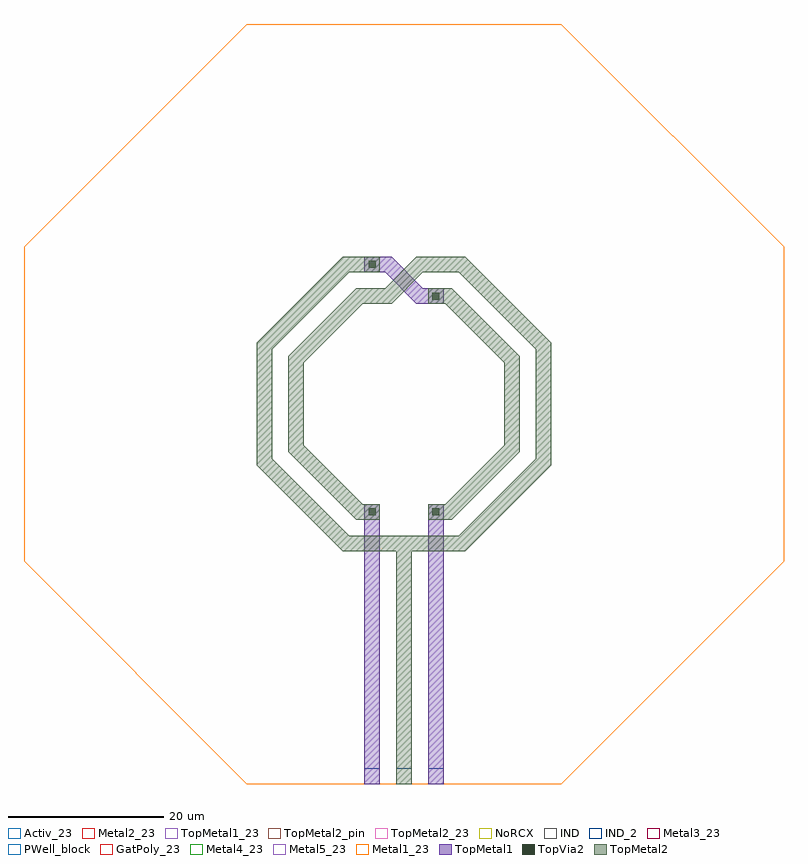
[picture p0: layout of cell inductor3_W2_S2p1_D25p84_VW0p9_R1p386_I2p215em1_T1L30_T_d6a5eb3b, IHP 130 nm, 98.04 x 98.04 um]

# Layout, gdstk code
import gdstk
lib = gdstk.Library(unit=1e-6, precision=1e-09)
def R(c, l, rs):  # rectangles x0, y0, x1, y1
    for r in rs: c.add(gdstk.rectangle(r[:2], r[2:], *l))
def P(c, l, *ps):  # polygons
    for p in ps: c.add(gdstk.Polygon(p, *l))
Activ_23 = (1, 23)
GatPoly_23 = (5, 23)
Metal1_23 = (8, 23)
Metal2_23 = (10, 23)
IND = (27, 0)
IND_2 = (27, 2)
Metal3_23 = (30, 23)
PWell_block = (46, 21)
Metal4_23 = (50, 23)
Metal5_23 = (67, 23)
TopMetal1 = (126, 0)
TopMetal1_23 = (126, 23)
TopVia2 = (133, 0)
TopMetal2 = (134, 0)
TopMetal2_pin = (134, 2)
TopMetal2_23 = (134, 23)
NoRCX = (148, 0)

rectangle_gdsfactorypcom = lib.new_cell('rectangle_gdsfactorypcomponentspshapesprectangle_S2_30__9b4a582f')
R(rectangle_gdsfactorypcom, TopMetal2, [(0,0,2,30)])

c_rectangle_gdsfactorypcom = lib.new_cell('rectangle_gdsfactorypcomponentspshapesprectangle_S2_2_L_ef4d5838')
R(c_rectangle_gdsfactorypcom, TopMetal2_pin, [(0,0,2,2)])

c_rectangle_gdsfactorypcom_ = lib.new_cell('rectangle_gdsfactorypcomponentspshapesprectangle_S2_2_L_b543f7ed')
R(c_rectangle_gdsfactorypcom_, IND_2, [(0,0,2,2)])

c_rectangle_gdsfactorypcom__ = lib.new_cell('rectangle_gdsfactorypcomponentspshapesprectangle_S2_36p_6f803a44')
R(c_rectangle_gdsfactorypcom__, TopMetal1, [(0,0,2,36.1)])

unnamed_161 = lib.new_cell('Unnamed_161')
P(unnamed_161, TopMetal2, [(-6.18,34.1),(-14.92,42.84),(-14.92,55.2),(-6.18,63.94),(-3.1,63.94),(-3.1,61.94),(-5.352,61.94),(-12.92,54.372),(-12.92,43.668),(-5.352,36.1),(-3.1,36.1),(-3.1,34.1)])

unnamed_162 = lib.new_cell('Unnamed_162')
P(unnamed_162, TopMetal2, [(3.1,34.1),(3.1,36.1),(5.352,36.1),(12.92,43.668),(12.92,54.372),(5.352,61.94),(3.1,61.94),(3.1,63.94),(6.18,63.94),(14.92,55.2),(14.92,42.84),(6.18,34.1)])

unnamed_163 = lib.new_cell('Unnamed_163')
P(unnamed_163, TopMetal2, [(-7.878,30),(-19.02,41.142),(-19.02,56.898),(-7.878,68.04),(-3.1,68.04),(-3.1,66.04),(-7.05,66.04),(-17.02,56.07),(-17.02,41.97),(-7.05,32),(-3.1,32),(-3.1,30)])

unnamed_164 = lib.new_cell('Unnamed_164')
P(unnamed_164, TopMetal2, [(3.1,30),(3.1,32),(7.05,32),(17.02,41.97),(17.02,56.07),(7.05,66.04),(3.1,66.04),(3.1,68.04),(7.878,68.04),(19.02,56.898),(19.02,41.142),(7.878,30)])

unnamed_165 = lib.new_cell('Unnamed_165')
R(unnamed_165, TopMetal2, [(-3.1,30,3.1,32)])

unnamed_166 = lib.new_cell('Unnamed_166')
P(unnamed_166, TopMetal2, [(-3.1,61.94),(-3.1,63.94),(-2.421,63.94),(1.579,68.04),(3.1,68.04),(3.1,66.04),(2.421,66.04),(-1.579,61.94)])

unnamed_167 = lib.new_cell('Unnamed_167')
P(unnamed_167, TopMetal1, [(1.579,61.94),(-2.421,66.04),(-5.1,66.04),(-5.1,68.04),(-1.579,68.04),(2.421,63.94),(5.1,63.94),(5.1,61.94)])

c_rectangle_gdsfactorypcom___ = lib.new_cell('rectangle_gdsfactorypcomponentspshapesprectangle_S0p9_0_c2a1d6bb')
R(c_rectangle_gdsfactorypcom___, TopVia2, [(0,0,0.9,0.9)])

inductor3_w2_s2p1_d25p84 = lib.new_cell('inductor3_W2_S2p1_D25p84_VW0p9_R1p386_I2p215em1_T1L30_T_d6a5eb3b')
P(inductor3_w2_s2p1_d25p84, Activ_23, [(-20.305,0),(-49.02,28.715),(-49.02,69.325),(-20.305,98.04),(20.305,98.04),(49.02,69.325),(49.02,28.715),(20.305,0)])
P(inductor3_w2_s2p1_d25p84, GatPoly_23, [(-20.305,0),(-49.02,28.715),(-49.02,69.325),(-20.305,98.04),(20.305,98.04),(49.02,69.325),(49.02,28.715),(20.305,0)])
P(inductor3_w2_s2p1_d25p84, Metal1_23, [(-20.305,0),(-49.02,28.715),(-49.02,69.325),(-20.305,98.04),(20.305,98.04),(49.02,69.325),(49.02,28.715),(20.305,0)])
P(inductor3_w2_s2p1_d25p84, Metal2_23, [(-20.305,0),(-49.02,28.715),(-49.02,69.325),(-20.305,98.04),(20.305,98.04),(49.02,69.325),(49.02,28.715),(20.305,0)])
P(inductor3_w2_s2p1_d25p84, IND, [(-20.305,0),(-49.02,28.715),(-49.02,69.325),(-20.305,98.04),(20.305,98.04),(49.02,69.325),(49.02,28.715),(20.305,0)])
P(inductor3_w2_s2p1_d25p84, Metal3_23, [(-20.305,0),(-49.02,28.715),(-49.02,69.325),(-20.305,98.04),(20.305,98.04),(49.02,69.325),(49.02,28.715),(20.305,0)])
P(inductor3_w2_s2p1_d25p84, PWell_block, [(-20.305,0),(-49.02,28.715),(-49.02,69.325),(-20.305,98.04),(20.305,98.04),(49.02,69.325),(49.02,28.715),(20.305,0)])
P(inductor3_w2_s2p1_d25p84, Metal4_23, [(-20.305,0),(-49.02,28.715),(-49.02,69.325),(-20.305,98.04),(20.305,98.04),(49.02,69.325),(49.02,28.715),(20.305,0)])
P(inductor3_w2_s2p1_d25p84, Metal5_23, [(-20.305,0),(-49.02,28.715),(-49.02,69.325),(-20.305,98.04),(20.305,98.04),(49.02,69.325),(49.02,28.715),(20.305,0)])
P(inductor3_w2_s2p1_d25p84, TopMetal1_23, [(-20.305,0),(-49.02,28.715),(-49.02,69.325),(-20.305,98.04),(20.305,98.04),(49.02,69.325),(49.02,28.715),(20.305,0)])
P(inductor3_w2_s2p1_d25p84, TopMetal2_23, [(-20.305,0),(-49.02,28.715),(-49.02,69.325),(-20.305,98.04),(20.305,98.04),(49.02,69.325),(49.02,28.715),(20.305,0)])
P(inductor3_w2_s2p1_d25p84, NoRCX, [(-20.305,0),(-49.02,28.715),(-49.02,69.325),(-20.305,98.04),(20.305,98.04),(49.02,69.325),(49.02,28.715),(20.305,0)])
inductor3_w2_s2p1_d25p84.add(gdstk.Reference(rectangle_gdsfactorypcom, (-1,0)))
inductor3_w2_s2p1_d25p84.add(gdstk.Reference(c_rectangle_gdsfactorypcom, (-1,0)))
inductor3_w2_s2p1_d25p84.add(gdstk.Reference(c_rectangle_gdsfactorypcom_, (-1,0)))
inductor3_w2_s2p1_d25p84.add(gdstk.Reference(c_rectangle_gdsfactorypcom__, (-5.1,0)))
inductor3_w2_s2p1_d25p84.add(gdstk.Reference(c_rectangle_gdsfactorypcom, (-5.1,0)))
inductor3_w2_s2p1_d25p84.add(gdstk.Reference(c_rectangle_gdsfactorypcom_, (-5.1,0)))
inductor3_w2_s2p1_d25p84.add(gdstk.Reference(c_rectangle_gdsfactorypcom__, (3.1,0)))
inductor3_w2_s2p1_d25p84.add(gdstk.Reference(c_rectangle_gdsfactorypcom, (3.1,0)))
inductor3_w2_s2p1_d25p84.add(gdstk.Reference(c_rectangle_gdsfactorypcom_, (3.1,0)))
inductor3_w2_s2p1_d25p84.add(gdstk.Reference(unnamed_161, (0,0)))
inductor3_w2_s2p1_d25p84.add(gdstk.Reference(unnamed_162, (0,0)))
inductor3_w2_s2p1_d25p84.add(gdstk.Reference(unnamed_163, (0,0)))
inductor3_w2_s2p1_d25p84.add(gdstk.Reference(unnamed_164, (0,0)))
inductor3_w2_s2p1_d25p84.add(gdstk.Reference(unnamed_165, (0,0)))
inductor3_w2_s2p1_d25p84.add(gdstk.Reference(unnamed_166, (0,0)))
inductor3_w2_s2p1_d25p84.add(gdstk.Reference(unnamed_167, (0,0)))
inductor3_w2_s2p1_d25p84.add(gdstk.Reference(c_rectangle_gdsfactorypcom___, (-4.55,66.59)))
inductor3_w2_s2p1_d25p84.add(gdstk.Reference(c_rectangle_gdsfactorypcom___, (3.65,62.49)))
inductor3_w2_s2p1_d25p84.add(gdstk.Reference(c_rectangle_gdsfactorypcom___, (-4.55,34.65)))
inductor3_w2_s2p1_d25p84.add(gdstk.Reference(c_rectangle_gdsfactorypcom___, (3.65,34.65)))

lib.write_gds('inductor3_W2_S2p1_D25p84_VW0p9_R1p386_I2p215em1_T1L30_T_d6a5eb3b.gds')
